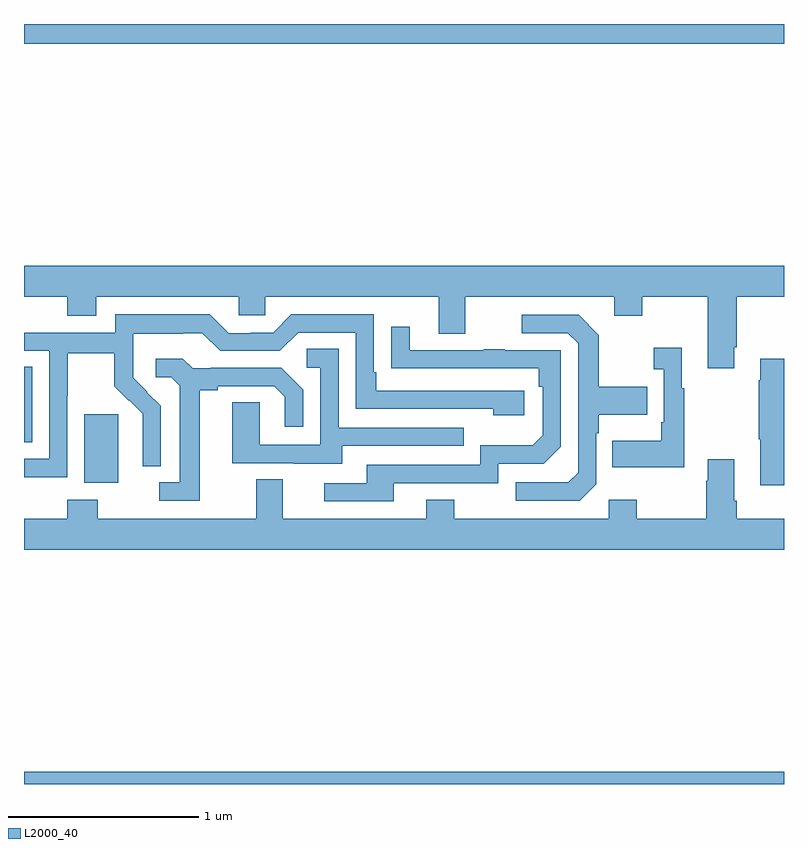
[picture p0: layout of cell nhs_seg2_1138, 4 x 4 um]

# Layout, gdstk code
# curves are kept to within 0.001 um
import gdstk
lib = gdstk.Library(unit=1e-6, precision=1e-09)
def R(c, l, rs):  # rectangles x0, y0, x1, y1
    for r in rs: c.add(gdstk.rectangle(r[:2], r[2:], *l))
def P(c, l, *ps):  # polygons
    for p in ps: c.add(gdstk.Polygon(p, *l))
L2000_40 = (2000, 40)

nhs_seg2_1138 = lib.new_cell('nhs_seg2_1138')
R(nhs_seg2_1138, L2000_40, [(171,583.8,175,583.864), (171.317,585.386,171.496,585.747), (171,585.598,171.043,585.995), (171,587.696,175,587.8)])
P(nhs_seg2_1138, L2000_40, [(174.739,586.099),(174.752,586.099),(174.752,586.364),(175,586.364),(175,586.528),(171,586.528),(171,586.364),(171.227,586.364),(171.227,586.265),(171.379,586.265),(171.379,586.364),(172.131,586.364),(172.131,586.266),(172.269,586.266),(172.269,586.364),(173.183,586.364),(173.183,586.17),(173.323,586.17),(173.323,586.364),(174.107,586.364),(174.107,586.265),(174.255,586.265),(174.255,586.364),(174.599,586.364),(174.599,585.987),(174.739,585.987)],
  [(171.228,585.844),(171.231,585.844),(171.231,586.068),(171.475,586.068),(171.475,585.893),(171.552,585.816),(171.555,585.819),(171.626,585.749),(171.626,585.626),(171.624,585.626),(171.624,585.472),(171.72,585.472),(171.72,585.79),(171.574,585.938),(171.574,586.035),(171.576,586.035),(171.576,586.169),(171.839,586.169),(171.839,586.173),(171.939,586.173),(172.032,586.08),(172.347,586.08),(172.443,586.176),(172.746,586.176),(172.746,585.774),(173.471,585.774),(173.471,585.74),(173.632,585.74),(173.632,585.87),(172.855,585.87),(172.855,585.967),(172.842,585.967),(172.842,586.272),(172.407,586.272),(172.311,586.176),(172.193,586.176),(172.193,586.173),(172.077,586.173),(171.977,586.273),(171.48,586.273),(171.48,586.176),(171,586.176),(171,586.08),(171.132,586.08),(171.132,585.513),(171,585.513),(171,585.415),(171.228,585.415)],
  [(174.012,585.378),(174.012,585.647),(174.025,585.647),(174.025,585.743),(174.281,585.743),(174.281,585.891),(174.025,585.891),(174.025,586.163),(173.919,586.269),(173.619,586.269),(173.619,586.173),(173.862,586.173),(173.916,586.119),(173.916,585.438),(173.865,585.387),(173.589,585.387),(173.589,585.291),(173.925,585.291)],
  [(172.945,585.384),(173.496,585.384),(173.496,585.486),(173.736,585.486),(173.826,585.576),(173.826,586.083),(173.531,586.083),(173.531,586.088),(173.419,586.088),(173.419,586.083),(173.029,586.083),(173.029,586.207),(172.933,586.207),(172.933,585.988),(173.71,585.987),(173.71,585.89),(173.73,585.89),(173.73,585.636),(173.677,585.583),(173.4,585.583),(173.4,585.48),(172.805,585.48),(172.805,585.384),(172.581,585.384),(172.581,585.288),(172.945,585.288)],
  [(174.475,585.883),(174.463,585.883),(174.463,586.096),(174.315,586.096),(174.315,585.983),(174.366,585.983),(174.366,585.703),(174.354,585.703),(174.354,585.607),(174.097,585.607),(174.097,585.467),(174.475,585.467)],
  [(172.675,585.579),(173.315,585.579),(173.315,585.675),(172.656,585.675),(172.656,586.091),(172.488,586.091),(172.488,585.99),(172.56,585.99),(172.56,585.585),(172.242,585.585),(172.242,585.809),(172.097,585.809),(172.097,585.489),(172.421,585.489),(172.421,585.485),(172.675,585.485)],
  [(171.925,585.872),(172.021,585.872),(172.021,585.894),(172.316,585.894),(172.373,585.837),(172.373,585.681),(172.47,585.681),(172.47,585.874),(172.354,585.99),(171.982,585.99),(171.982,585.987),(171.888,585.987),(171.836,586.039),(171.693,586.039),(171.693,585.942),(171.774,585.942),(171.821,585.895),(171.821,585.387),(171.711,585.387),(171.711,585.291),(171.925,585.291)],
  [(175,586.039),(174.875,586.039),(174.875,585.926),(174.868,585.926),(174.868,585.615),(174.875,585.615),(174.875,585.372),(175,585.372)],
  [(175,585.196),(174.752,585.196),(174.752,585.292),(174.739,585.292),(174.739,585.508),(174.599,585.508),(174.599,585.395),(174.592,585.395),(174.592,585.196),(174.225,585.196),(174.225,585.295),(174.078,585.295),(174.078,585.196),(173.265,585.196),(173.265,585.295),(173.117,585.295),(173.117,585.196),(172.363,585.196),(172.363,585.404),(172.223,585.404),(172.223,585.196),(171.387,585.196),(171.387,585.295),(171.227,585.295),(171.227,585.196),(171,585.196),(171,585.032),(175,585.032)])

lib.write_gds('nhs_seg2_1138.gds')
